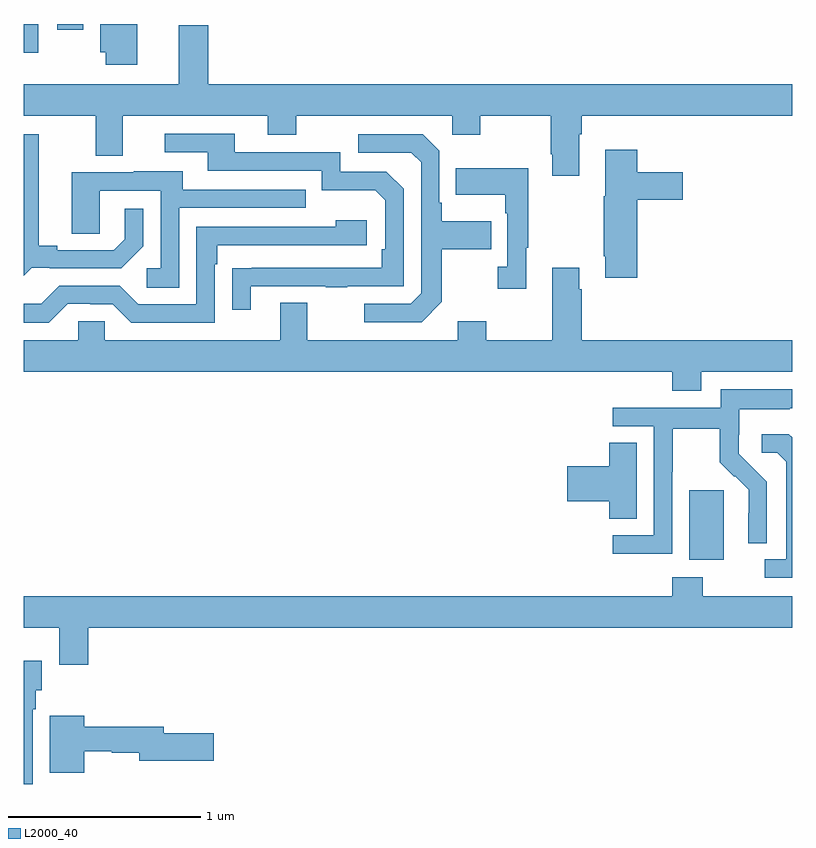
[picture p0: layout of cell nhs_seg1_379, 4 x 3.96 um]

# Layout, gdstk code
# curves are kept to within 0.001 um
import gdstk
lib = gdstk.Library(unit=1e-6, precision=1e-09)
def R(c, l, rs):  # rectangles x0, y0, x1, y1
    for r in rs: c.add(gdstk.rectangle(r[:2], r[2:], *l))
def P(c, l, *ps):  # polygons
    for p in ps: c.add(gdstk.Polygon(p, *l))
L2000_40 = (2000, 40)

nhs_seg1_379 = lib.new_cell('nhs_seg1_379')
R(nhs_seg1_379, L2000_40, [(134.465,561.41,134.644,561.771), (131,564.048,131.074,564.199), (131.174,564.168,131.308,564.199)])
P(nhs_seg1_379, L2000_40, [(131.59,564.199),(131.396,564.199),(131.396,564.053),(131.425,564.053),(131.425,563.988),(131.59,563.988)],
  [(133.891,563.624),(133.904,563.624),(133.904,563.72),(135,563.72),(135,563.884),(131.96,563.884),(131.96,564.193),(131.807,564.193),(131.807,563.884),(131,563.884),(131,563.72),(131.375,563.72),(131.375,563.512),(131.515,563.512),(131.515,563.72),(132.269,563.72),(132.269,563.621),(132.417,563.621),(132.417,563.72),(133.23,563.72),(133.23,563.621),(133.377,563.621),(133.377,563.72),(133.744,563.72),(133.744,563.521),(133.751,563.521),(133.751,563.409),(133.891,563.409)],
  [(132.181,562.833),(132.571,562.833),(132.571,562.828),(132.683,562.828),(132.683,562.833),(132.978,562.833),(132.978,563.34),(132.888,563.43),(132.648,563.43),(132.648,563.532),(132.097,563.532),(132.097,563.628),(131.733,563.628),(131.733,563.532),(131.957,563.532),(131.957,563.436),(132.552,563.436),(132.552,563.333),(132.829,563.333),(132.882,563.28),(132.882,563.026),(132.862,563.026),(132.862,562.929),(132.085,562.928),(132.085,562.71),(132.181,562.71)],
  [(133.177,562.753),(133.177,563.026),(133.433,563.026),(133.433,563.173),(133.177,563.173),(133.177,563.269),(133.164,563.269),(133.164,563.538),(133.077,563.625),(132.741,563.625),(132.741,563.529),(133.017,563.529),(133.068,563.478),(133.068,562.797),(133.014,562.743),(132.771,562.743),(132.771,562.647),(133.071,562.647)],
  [(131.04,562.929),(131.134,562.929),(131.134,562.926),(131.506,562.926),(131.622,563.042),(131.622,563.236),(131.525,563.236),(131.525,563.079),(131.468,563.022),(131.173,563.022),(131.173,563.045),(131.077,563.045),(131.077,563.625),(131,563.625),(131,562.889)],
  [(134.195,563.285),(134.431,563.285),(134.431,563.427),(134.195,563.427),(134.195,563.545),(134.027,563.545),(134.027,563.301),(134.02,563.301),(134.02,562.99),(134.027,562.99),(134.027,562.878),(134.195,562.878)],
  [(133.615,563.033),(133.627,563.033),(133.627,563.449),(133.249,563.449),(133.249,563.309),(133.506,563.309),(133.506,563.213),(133.518,563.213),(133.518,562.934),(133.467,562.934),(133.467,562.821),(133.615,562.821)],
  [(131.808,563.241),(132.467,563.241),(132.467,563.337),(131.827,563.337),(131.827,563.431),(131.573,563.431),(131.573,563.427),(131.249,563.427),(131.249,563.107),(131.394,563.107),(131.394,563.331),(131.712,563.331),(131.712,562.926),(131.64,562.926),(131.64,562.825),(131.808,562.825)],
  [(131.229,562.743),(131.345,562.743),(131.345,562.74),(131.463,562.74),(131.559,562.644),(131.994,562.644),(131.994,562.949),(132.007,562.949),(132.007,563.046),(132.784,563.046),(132.784,563.176),(132.623,563.176),(132.623,563.142),(131.898,563.142),(131.898,562.74),(131.595,562.74),(131.499,562.836),(131.184,562.836),(131.091,562.743),(131,562.743),(131,562.643),(131.129,562.643)],
  [(134.527,562.388),(135,562.388),(135,562.552),(133.904,562.552),(133.904,562.817),(133.891,562.817),(133.891,562.93),(133.751,562.93),(133.751,562.552),(133.407,562.552),(133.407,562.651),(133.259,562.651),(133.259,562.552),(132.475,562.552),(132.475,562.747),(132.335,562.747),(132.335,562.552),(131.421,562.552),(131.421,562.65),(131.283,562.65),(131.283,562.552),(131,562.552),(131,562.388),(134.375,562.388),(134.375,562.289),(134.527,562.289)],
  [(134.376,561.868),(134.379,561.868),(134.379,562.092),(134.623,562.092),(134.623,561.917),(134.7,561.84),(134.703,561.843),(134.774,561.773),(134.774,561.65),(134.772,561.65),(134.772,561.496),(134.868,561.496),(134.868,561.814),(134.722,561.962),(134.722,562.059),(134.724,562.059),(134.724,562.193),(134.987,562.193),(134.987,562.197),(135,562.197),(135,562.297),(134.628,562.297),(134.628,562.2),(134.067,562.2),(134.067,562.104),(134.28,562.104),(134.28,561.537),(134.067,561.537),(134.067,561.439),(134.376,561.439)],
  [(135,562.047),(134.984,562.063),(134.841,562.063),(134.841,561.966),(134.922,561.966),(134.969,561.919),(134.969,561.411),(134.859,561.411),(134.859,561.315),(135,561.315)],
  [(134.191,562.019),(134.048,562.019),(134.048,561.896),(133.83,561.896),(133.83,561.713),(134.048,561.713),(134.048,561.622),(134.191,561.622)],
  [(131.336,561.056),(135,561.056),(135,561.22),(134.535,561.22),(134.535,561.319),(134.375,561.319),(134.375,561.22),(131,561.22),(131,561.056),(131.183,561.056),(131.183,560.862),(131.336,560.862)],
  [(131.047,560.63),(131.062,560.63),(131.062,560.73),(131.092,560.73),(131.092,560.884),(131,560.884),(131,560.241),(131.047,560.241)],
  [(131.314,560.412),(131.457,560.412),(131.457,560.404),(131.6,560.404),(131.6,560.362),(131.989,560.362),(131.989,560.504),(131.728,560.504),(131.728,560.54),(131.314,560.54),(131.314,560.596),(131.135,560.596),(131.135,560.3),(131.314,560.3)])

lib.write_gds('nhs_seg1_379.gds')
